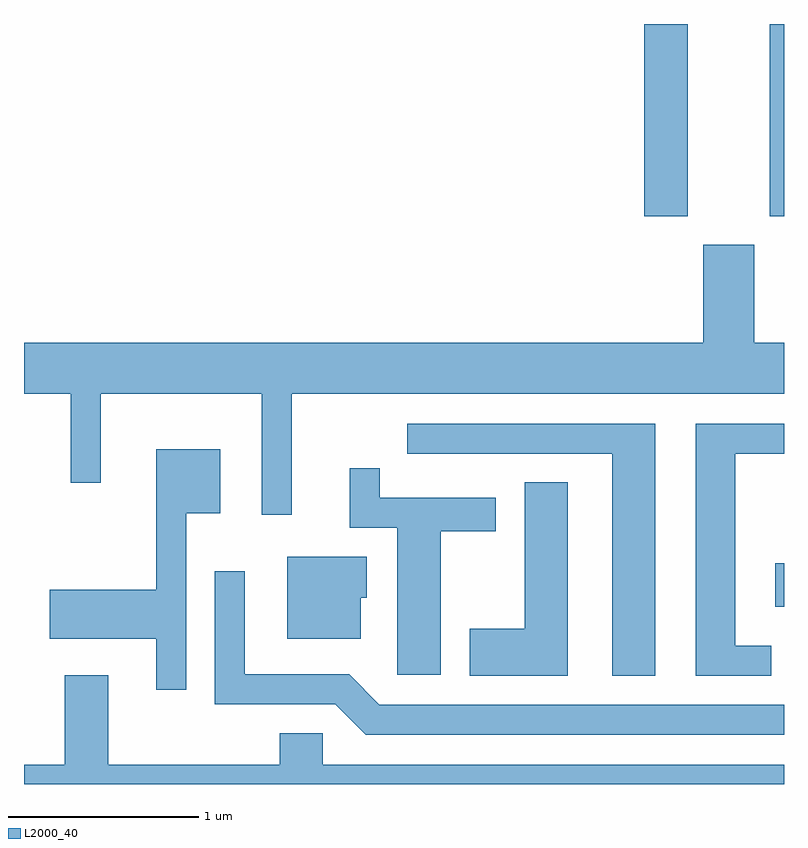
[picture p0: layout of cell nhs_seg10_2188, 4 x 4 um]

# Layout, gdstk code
import gdstk
lib = gdstk.Library(unit=1e-6, precision=1e-09)
def R(c, l, rs):  # rectangles x0, y0, x1, y1
    for r in rs: c.add(gdstk.rectangle(r[:2], r[2:], *l))
def P(c, l, *ps):  # polygons
    for p in ps: c.add(gdstk.Polygon(p, *l))
L2000_40 = (2000, 40)

nhs_seg10_2188 = lib.new_cell('nhs_seg10_2188')
R(nhs_seg10_2188, L2000_40, [(253.566,2119.456,253.611,2119.684), (252.876,2121.511,253.104,2122.522), (253.536,2121.511,253.611,2122.522)])
P(nhs_seg10_2188, L2000_40, [(251.019,2120.576),(253.611,2120.576),(253.611,2120.844),(253.454,2120.844),(253.454,2121.359),(253.186,2121.359),(253.186,2120.844),(249.611,2120.844),(249.611,2120.576),(249.856,2120.576),(249.856,2120.108),(250.014,2120.108),(250.014,2120.576),(250.861,2120.576),(250.861,2119.938),(251.019,2119.938)],
  [(253.543,2119.249),(253.354,2119.249),(253.354,2120.261),(253.611,2120.261),(253.611,2120.419),(253.146,2120.419),(253.146,2119.091),(253.543,2119.091)],
  [(252.934,2120.419),(251.628,2120.419),(251.628,2120.261),(252.706,2120.261),(252.706,2119.091),(252.934,2119.091)],
  [(250.464,2119.946),(250.644,2119.946),(250.644,2120.284),(250.306,2120.284),(250.306,2119.544),(249.746,2119.544),(249.746,2119.286),(250.306,2119.286),(250.306,2119.018),(250.464,2119.018)],
  [(251.804,2119.851),(252.094,2119.851),(252.094,2120.029),(251.484,2120.029),(251.484,2120.183),(251.326,2120.183),(251.326,2119.871),(251.576,2119.871),(251.576,2119.096),(251.804,2119.096)],
  [(252.474,2120.109),(252.246,2120.109),(252.246,2119.339),(251.956,2119.339),(251.956,2119.091),(252.474,2119.091)],
  [(251.384,2119.501),(251.414,2119.501),(251.414,2119.719),(250.996,2119.719),(250.996,2119.286),(251.384,2119.286)],
  [(253.611,2118.939),(251.482,2118.939),(251.322,2119.099),(250.774,2119.099),(250.774,2119.643),(250.616,2119.643),(250.616,2118.941),(251.249,2118.941),(251.409,2118.781),(253.611,2118.781)],
  [(253.611,2118.624),(251.184,2118.624),(251.184,2118.789),(250.956,2118.789),(250.956,2118.624),(250.054,2118.624),(250.054,2119.094),(249.826,2119.094),(249.826,2118.624),(249.611,2118.624),(249.611,2118.522),(253.611,2118.522)])

lib.write_gds('nhs_seg10_2188.gds')
